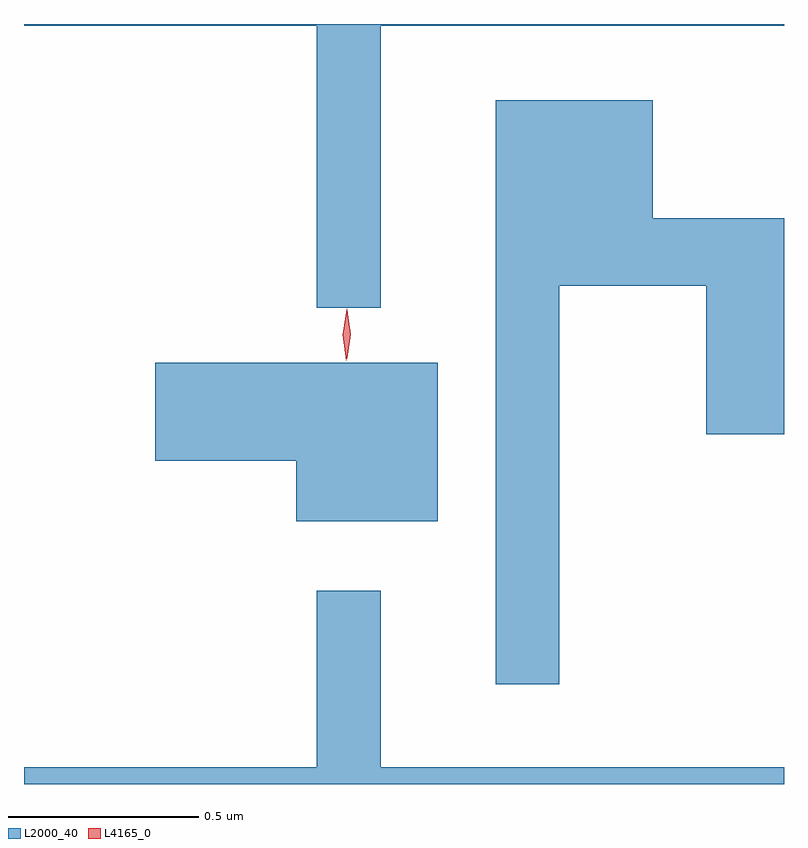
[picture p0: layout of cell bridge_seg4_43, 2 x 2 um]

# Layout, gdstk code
import gdstk
lib = gdstk.Library(unit=1e-6, precision=1e-09)
def P(c, l, *ps):  # polygons
    for p in ps: c.add(gdstk.Polygon(p, *l))
L2000_40 = (2000, 40)
L4165_0 = (4165, 0)

bridge_seg4_43 = lib.new_cell('bridge_seg4_43')
P(bridge_seg4_43, L2000_40, [(1291.479,1372.436),(1292.54,1372.436),(1292.54,1372.44),(1290.54,1372.44),(1290.54,1372.436),(1291.311,1372.436),(1291.311,1371.693),(1291.479,1371.693)],
  [(1291.949,1371.751),(1292.336,1371.751),(1292.336,1371.361),(1292.54,1371.361),(1292.54,1371.929),(1292.194,1371.929),(1292.194,1372.239),(1291.781,1372.239),(1291.781,1370.703),(1291.949,1370.703)],
  [(1291.629,1371.549),(1290.886,1371.549),(1290.886,1371.291),(1291.256,1371.291),(1291.256,1371.131),(1291.629,1371.131)],
  [(1292.54,1370.484),(1291.479,1370.484),(1291.479,1370.948),(1291.311,1370.948),(1291.311,1370.484),(1290.54,1370.484),(1290.54,1370.44),(1292.54,1370.44)])
P(bridge_seg4_43, L4165_0, [(1291.388,1371.554),(1291.388,1371.554),(1291.379,1371.622),(1291.389,1371.69),(1291.39,1371.69),(1291.39,1371.69),(1291.399,1371.622),(1291.388,1371.554)],
  [(1291.389,1371.56),(1291.38,1371.623),(1291.389,1371.686),(1291.39,1371.687),(1291.39,1371.686),(1291.4,1371.623),(1291.39,1371.56),(1291.39,1371.56)])

lib.write_gds('bridge_seg4_43.gds')
